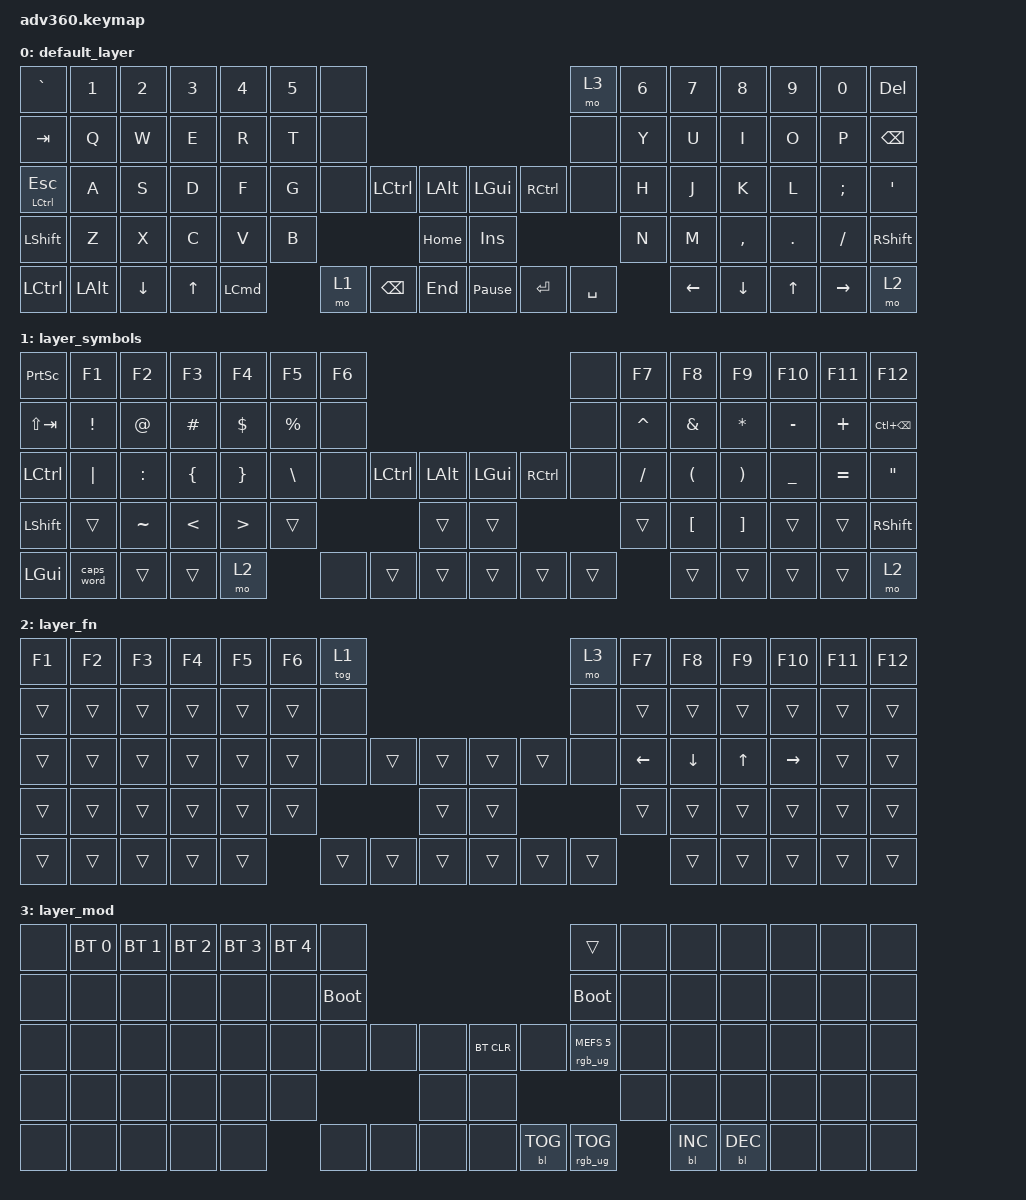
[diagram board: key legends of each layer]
/*
 * Copyright (c) 2020 The ZMK Contributors
 *
 * SPDX-License-Identifier: MIT
 */
/* THIS FILE WAS GENERATED!
 *
 * This file was generated automatically. You may or may not want to
 * edit it directly.
 */

#include <behaviors.dtsi>
#include <dt-bindings/zmk/backlight.h>
#include <dt-bindings/zmk/bt.h>
#include <dt-bindings/zmk/keys.h>
#include <dt-bindings/zmk/rgb.h>

/ {
    behaviors {
        #include "macros.dtsi"
    #include "version.dtsi"

        hm: homerow_mods {
            compatible = "zmk,behavior-hold-tap";
            label = "HOMEROW_MODS";
            #binding-cells = <2>;
            tapping-term-ms = <200>;
            quick_tap_ms = <175>;
            flavor = "tap-preferred";
            bindings = <&kp>, <&kp>;
        };
    };

    keymap {
        compatible = "zmk,keymap";

        default_layer {
            bindings = <
&kp GRAVE             &kp N1        &kp N2    &kp N3  &kp N4    &kp N5  &none                                                           &mo 3      &kp N6  &kp N7    &kp N8     &kp N9   &kp N0     &kp DEL
&kp TAB               &kp Q         &kp W     &kp E   &kp R     &kp T   &none                                                           &none      &kp Y   &kp U     &kp I      &kp O    &kp P      &kp BSPC
&mt LEFT_CONTROL ESC  &kp A         &kp S     &kp D   &kp F     &kp G   &none  &kp LCTRL      &kp LALT      &kp LGUI         &kp RCTRL  &none      &kp H   &kp J     &kp K      &kp L    &kp SEMI   &kp SQT
&kp LSHFT             &kp Z         &kp X     &kp C   &kp V     &kp B                         &kp HOME      &kp INSERT                             &kp N   &kp M     &kp COMMA  &kp DOT  &kp FSLH   &kp RSHFT
&kp LEFT_CONTROL      &kp LEFT_ALT  &kp DOWN  &kp UP  &kp LCMD          &mo 1  &kp BACKSPACE  &kp END       &kp PAUSE_BREAK  &kp ENTER  &kp SPACE          &kp LEFT  &kp DOWN   &kp UP   &kp RIGHT  &mo 2
            >;
        };

        layer_symbols {
            bindings = <
&kp PRINTSCREEN   &kp F1      &kp F2     &kp F3    &kp F4      &kp F5         &kp F6                                                &none   &kp F7     &kp F8    &kp F9    &kp F10    &kp F11    &kp F12
&kp LS(TAB)       &kp EXCL    &kp AT     &kp HASH  &kp DOLLAR  &kp PERCENT    &none                                                 &none   &kp CARET  &kp AMPS  &kp STAR  &kp MINUS  &kp PLUS   &kp LC(BSPC)
&kp LEFT_CONTROL  &kp PIPE    &kp COLON  &kp LBRC  &kp RBRC    &kp BACKSLASH  &none   &kp LCTRL  &kp LALT      &kp LGUI  &kp RCTRL  &none   &kp SLASH  &kp LPAR  &kp RPAR  &kp UNDER  &kp EQUAL  &kp DQT
&kp LSHFT         &trans      &kp TILDE  &kp LT    &kp GT      &trans                            &trans        &trans                       &trans     &kp LBKT  &kp RBKT  &trans     &trans     &kp RSHFT
&kp LGUI          &caps_word  &trans     &trans    &mo 2                      &none   &trans     &trans        &trans    &trans     &trans             &trans    &trans    &trans     &trans     &mo 2
            >;
        };

        layer_fn {
            bindings = <
&kp F1  &kp F2  &kp F3  &kp F4  &kp F5  &kp F6  &tog 1                                      &mo 3   &kp F7    &kp F8    &kp F9  &kp F10    &kp F11  &kp F12
&trans  &trans  &trans  &trans  &trans  &trans  &none                                       &none   &trans    &trans    &trans  &trans     &trans   &trans
&trans  &trans  &trans  &trans  &trans  &trans  &none   &trans  &trans      &trans  &trans  &none   &kp LEFT  &kp DOWN  &kp UP  &kp RIGHT  &trans   &trans
&trans  &trans  &trans  &trans  &trans  &trans                  &trans      &trans                  &trans    &trans    &trans  &trans     &trans   &trans
&trans  &trans  &trans  &trans  &trans          &trans  &trans  &trans      &trans  &trans  &trans            &trans    &trans  &trans     &trans   &trans
            >;
        };

        layer_mod {
            bindings = <
&none  &bt BT_SEL 0  &bt BT_SEL 1  &bt BT_SEL 2  &bt BT_SEL 3  &bt BT_SEL 4  &none                                                  &trans                  &none  &none       &none       &none  &none  &none
&none  &none         &none         &none         &none         &none         &bootloader                                            &bootloader             &none  &none       &none       &none  &none  &none
&none  &none         &none         &none         &none         &none         &none        &none  &none      &bt BT_CLR  &none       &rgb_ug RGB_MEFS_CMD 5  &none  &none       &none       &none  &none  &none
&none  &none         &none         &none         &none         &none                             &none      &none                                           &none  &none       &none       &none  &none  &none
&none  &none         &none         &none         &none                       &none        &none  &none      &none       &bl BL_TOG  &rgb_ug RGB_TOG                &bl BL_INC  &bl BL_DEC  &none  &none  &none
            >;
        };
    };
};
